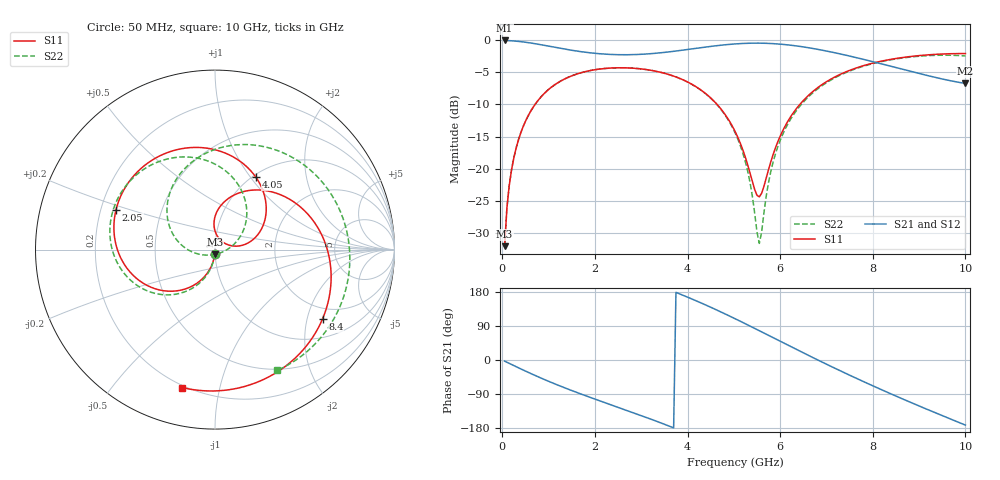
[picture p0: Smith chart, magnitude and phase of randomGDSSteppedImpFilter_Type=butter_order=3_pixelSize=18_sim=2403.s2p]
! freq	dB(S11)	phase(S11)	dB(S12)	phase(S12)
!  dB(S21)	phase(S21)	dB(S22)	phase(S22)
!S-par simulation data
#  GHz  S  DB  R 50
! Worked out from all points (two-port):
!   200 points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, 50 MHz to 10 GHz, reference 50 ohm
!   highest |S21| = -0.01 dB at 50 MHz (marker M1); lowest = -6.7 dB at 10 GHz (marker M2)
!   |S21| within 3 dB of the highest: start of sweep to 7.828 GHz
!   lowest |S11| = -32.1 dB at 50 MHz (marker M3), VSWR 1.05, Z = 49.8 - j2.47 ohm
!   |S11| at or under -10 dB: start of sweep to 706.7 MHz; 4.639 GHz to 6.424 GHz (1.785 GHz wide, 32.3 % of centre)
!   |S22| runs from -32.1 to -2.3 dB; largest |S21 - S12| = 0
!   S11 on the Smith chart (normalised r, x): 50 MHz: 1.00, -0.05; 2.05 GHz: 0.26, +0.18; 4.05 GHz: 1.03, +1.06; 8.4 GHz: 1.59, -2.50; 10 GHz: 0.19, -0.77
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0.05  -32.11 -93.3  -0.01 -3.0  -0.01 -3.0  -32.11 -93.0
0.1  -26.11 -96.5  -0.02 -6.0  -0.02 -6.0  -26.11 -96.0
0.2  -20.18 -102.9  -0.06 -11.9  -0.06 -11.9  -20.18 -101.8
0.5  -12.62 -121.2  -0.28 -29.2  -0.28 -29.2  -12.62 -118.4
1.1  -7.09 -155.0  -1.03 -61.3  -1.03 -61.3  -7.08 -148.8
1.75  -4.95 172.3  -1.81 -92.1  -1.81 -92.1  -4.95 -177.5
2.05  -4.52 158.1  -2.05 -105.3  -2.05 -105.3  -4.52 170.2
2.8  -4.32 123.1  -2.22 -137.9  -2.22 -137.9  -4.32 140.5
3.4  -4.94 94.2  -1.95 -164.8  -1.95 -164.8  -4.94 116.0
4.05  -6.67 60.8  -1.37 163.3  -1.37 163.3  -6.68 87.0
4.55  -9.32 34.1  -0.89 136.5  -0.89 136.5  -9.36 61.9
5.05  -14.56 11.3  -0.54 107.6  -0.54 107.6  -14.79 32.4
5.3  -19.44 10.6  -0.45 92.6  -0.45 92.6  -20.44 11.2
5.55  -24.41 53.6  -0.43 77.3  -0.43 77.3  -31.67 -77.2
5.75  -20.14 88.9  -0.47 64.9  -0.47 64.9  -22.13 -158.5
5.95  -15.81 91.6  -0.55 52.6  -0.55 52.6  -16.58 -179.1
6.7  -8.01 56.6  -1.25 6.8  -1.25 6.8  -8.21 131.9
7.6  -4.41 7.3  -2.61 -45.8  -2.61 -45.8  -4.51 78.6
8.35  -3.01 -30.3  -3.96 -87.1  -3.96 -87.1  -3.07 34.4
8.4  -2.94 -32.7  -4.05 -89.8  -4.05 -89.8  -3.01 31.4
9.2  -2.25 -69.1  -5.52 -131.5  -5.52 -131.5  -2.37 -15.6
10  -2.05 -103.4  -6.72 -171.8  -6.72 -171.8  -2.42 -62.8
